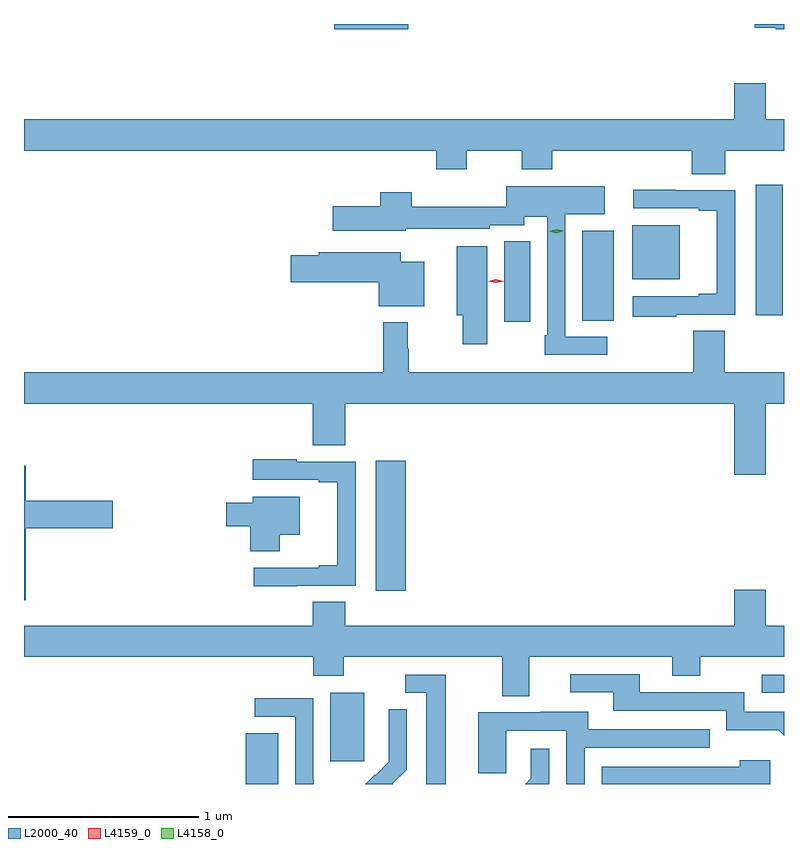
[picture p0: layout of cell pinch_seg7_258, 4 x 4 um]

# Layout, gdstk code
import gdstk
lib = gdstk.Library(unit=1e-6, precision=1e-09)
def R(c, l, rs):  # rectangles x0, y0, x1, y1
    for r in rs: c.add(gdstk.rectangle(r[:2], r[2:], *l))
def P(c, l, *ps):  # polygons
    for p in ps: c.add(gdstk.Polygon(p, *l))
L2000_40 = (2000, 40)
L4158_0 = (4158, 0)
L4159_0 = (4159, 0)

pinch_seg7_258 = lib.new_cell('pinch_seg7_258')
R(pinch_seg7_258, L2000_40, [(797.801,1010.602,797.971,1010.87), (798.245,1010.721,798.424,1011.082), (800.517,1011.081,800.633,1011.177), (798.485,1011.618,798.641,1012.303), (799.16,1013.034,799.297,1013.459), (799.571,1013.041,799.738,1013.515), (800.483,1013.07,800.626,1013.755), (799.835,1013.258,800.083,1013.542), (798.266,1014.574,798.655,1014.602)])
P(pinch_seg7_258, L2000_40, [(800.633,1014.602),(800.478,1014.602),(800.478,1014.581),(800.59,1014.581),(800.59,1014.574),(800.633,1014.574)],
  [(800.324,1013.936),(800.633,1013.936),(800.633,1014.1),(800.536,1014.1),(800.536,1014.289),(800.372,1014.289),(800.372,1014.1),(796.633,1014.1),(796.633,1013.936),(798.803,1013.936),(798.803,1013.837),(798.963,1013.837),(798.963,1013.936),(799.252,1013.936),(799.252,1013.837),(799.412,1013.837),(799.412,1013.936),(800.147,1013.936),(800.147,1013.812),(800.324,1013.812)],
  [(799.702,1012.956),(799.482,1012.956),(799.482,1013.6),(799.69,1013.6),(799.69,1013.749),(799.17,1013.749),(799.17,1013.641),(798.674,1013.641),(798.674,1013.716),(798.509,1013.716),(798.509,1013.643),(798.258,1013.643),(798.258,1013.513),(798.642,1013.513),(798.642,1013.525),(799.083,1013.525),(799.083,1013.544),(799.266,1013.544),(799.266,1013.588),(799.386,1013.588),(799.386,1012.963),(799.374,1012.963),(799.374,1012.86),(799.702,1012.86)],
  [(800.066,1013.073),(800.376,1013.073),(800.376,1013.727),(800.063,1013.727),(800.063,1013.729),(799.839,1013.729),(799.839,1013.631),(800.183,1013.631),(800.183,1013.619),(800.279,1013.619),(800.279,1013.182),(800.183,1013.182),(800.183,1013.169),(799.836,1013.169),(799.836,1013.061),(800.066,1013.061)],
  [(799.072,1013.431),(798.911,1013.431),(798.911,1013.069),(798.943,1013.069),(798.943,1012.917),(799.072,1012.917)],
  [(798.739,1013.35),(798.616,1013.35),(798.616,1013.401),(798.185,1013.401),(798.185,1013.384),(798.036,1013.384),(798.036,1013.242),(798.5,1013.242),(798.5,1013.117),(798.739,1013.117)],
  [(800.536,1012.604),(800.633,1012.604),(800.633,1012.768),(800.321,1012.768),(800.321,1012.988),(800.155,1012.988),(800.155,1012.768),(798.659,1012.768),(798.659,1012.892),(798.652,1012.892),(798.652,1013.032),(798.523,1013.032),(798.523,1012.768),(796.633,1012.768),(796.633,1012.604),(798.152,1012.604),(798.152,1012.384),(798.323,1012.384),(798.323,1012.604),(800.372,1012.604),(800.372,1012.23),(800.536,1012.23)],
  [(798.068,1011.645),(798.378,1011.645),(798.378,1012.299),(798.068,1012.299),(798.068,1012.312),(797.838,1012.312),(797.838,1012.203),(798.185,1012.203),(798.185,1012.191),(798.281,1012.191),(798.281,1011.754),(798.185,1011.754),(798.185,1011.741),(797.841,1011.741),(797.841,1011.644),(798.068,1011.644)],
  [(796.643,1011.947),(797.101,1011.947),(797.101,1012.094),(796.643,1012.094),(796.643,1012.276),(796.633,1012.276),(796.633,1011.569),(796.643,1011.569)],
  [(797.979,1011.914),(798.085,1011.914),(798.085,1012.114),(797.837,1012.114),(797.837,1012.081),(797.697,1012.081),(797.697,1011.959),(797.825,1011.959),(797.825,1011.826),(797.979,1011.826)],
  [(799.291,1011.272),(800.045,1011.272),(800.045,1011.173),(800.193,1011.173),(800.193,1011.272),(800.633,1011.272),(800.633,1011.436),(800.536,1011.436),(800.536,1011.625),(800.372,1011.625),(800.372,1011.436),(798.323,1011.436),(798.323,1011.56),(798.152,1011.56),(798.152,1011.436),(796.633,1011.436),(796.633,1011.272),(798.155,1011.272),(798.155,1011.173),(798.315,1011.173),(798.315,1011.272),(799.151,1011.272),(799.151,1011.064),(799.291,1011.064)],
  [(800.633,1010.982),(800.424,1010.982),(800.424,1011.084),(799.873,1011.084),(799.873,1011.18),(799.509,1011.18),(799.509,1011.084),(799.733,1011.084),(799.733,1010.988),(800.328,1010.988),(800.328,1010.885),(800.605,1010.885),(800.633,1010.857)],
  [(798.853,1011.177),(798.639,1011.177),(798.639,1011.081),(798.749,1011.081),(798.749,1010.602),(798.853,1010.602)],
  [(798.159,1010.624),(798.156,1010.624),(798.156,1011.054),(797.847,1011.054),(797.847,1010.955),(798.06,1010.955),(798.06,1010.602),(798.159,1010.602)],
  [(798.576,1010.604),(798.575,1010.605),(798.648,1010.678),(798.648,1010.996),(798.552,1010.996),(798.552,1010.842),(798.554,1010.842),(798.554,1010.72),(798.483,1010.649),(798.48,1010.652),(798.43,1010.602),(798.574,1010.602)],
  [(799.584,1010.793),(800.243,1010.793),(800.243,1010.889),(799.603,1010.889),(799.603,1010.983),(799.349,1010.983),(799.349,1010.979),(799.025,1010.979),(799.025,1010.659),(799.17,1010.659),(799.17,1010.883),(799.488,1010.883),(799.488,1010.602),(799.584,1010.602)],
  [(799.398,1010.788),(799.301,1010.788),(799.301,1010.631),(799.272,1010.602),(799.398,1010.602)],
  [(800.56,1010.728),(800.399,1010.728),(800.399,1010.694),(799.674,1010.694),(799.674,1010.602),(800.56,1010.602)])
P(pinch_seg7_258, L4158_0, [(799.434,1013.502),(799.398,1013.511),(799.398,1013.511),(799.398,1013.511),(799.433,1013.522),(799.468,1013.513),(799.468,1013.513),(799.468,1013.512)])
P(pinch_seg7_258, L4159_0, [(799.117,1013.239),(799.076,1013.249),(799.075,1013.249),(799.076,1013.249),(799.116,1013.259),(799.157,1013.249),(799.158,1013.249),(799.157,1013.249)])

lib.write_gds('pinch_seg7_258.gds')
